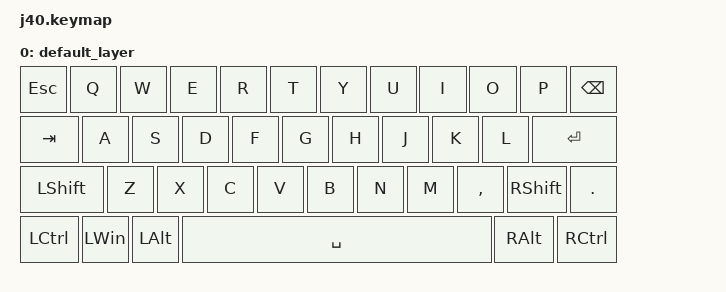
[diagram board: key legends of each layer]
// This file was generated from a template. Edit it to match your keyboard.
// See https://zmk.dev/docs/development/hardware-integration/new-shield for more instructions.

#include <behaviors.dtsi>
#include <dt-bindings/zmk/keys.h>

/ {
    // Define a default keymap here.
    // See https://zmk.dev/docs/development/hardware-integration/new-shield#default-keymap.
    keymap {
        compatible = "zmk,keymap";

        default_layer {
            bindings = <
                &kp ESC &kp Q &kp W &kp E &kp R &kp T &kp Y &kp U &kp I &kp O &kp P &kp BSPC
                &kp TAB  &kp A &kp S &kp D &kp F &kp G &kp H &kp J &kp K &kp L    &kp RET
                &kp LSHFT &kp Z &kp X &kp C &kp V &kp B &kp N &kp M &kp COMMA &kp RSHFT &kp DOT
                &kp LCTRL &kp LWIN &kp LALT         &kp SPACE        &kp RALT &kp RCTRL
            >;
        };

        fn_layer {
            status = "reserved";
        };

        extra1 {
            status = "reserved";
        };

        extra2 {
            status = "reserved";
        };
    };
};

/ {
    combos {
        compatible = "zmk,combos";

        studio_unlock_combo {
            timeout-ms = <50>;        // можно 30–60
            key-positions = <12 10>;
            bindings = <&studio_unlock>;
        };
    };
};

